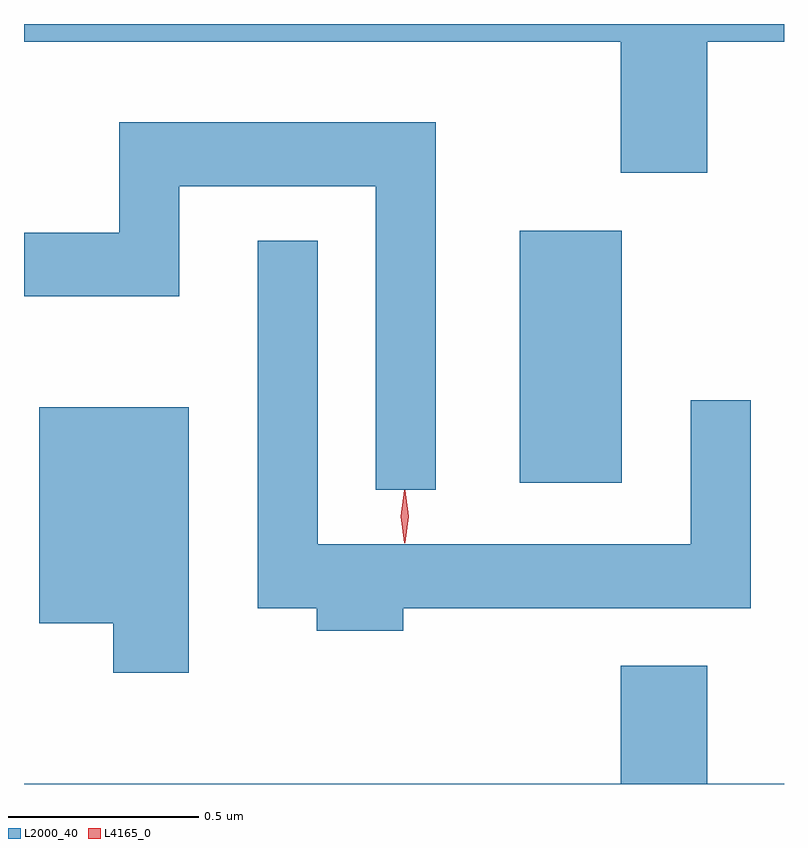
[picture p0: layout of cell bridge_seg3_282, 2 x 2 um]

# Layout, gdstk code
import gdstk
lib = gdstk.Library(unit=1e-6, precision=1e-09)
def R(c, l, rs):  # rectangles x0, y0, x1, y1
    for r in rs: c.add(gdstk.rectangle(r[:2], r[2:], *l))
def P(c, l, *ps):  # polygons
    for p in ps: c.add(gdstk.Polygon(p, *l))
L2000_40 = (2000, 40)
L4165_0 = (4165, 0)

bridge_seg3_282 = lib.new_cell('bridge_seg3_282')
R(bridge_seg3_282, L2000_40, [(1077.726,1149.276,1077.994,1149.939)])
P(bridge_seg3_282, L2000_40, [(1078.219,1150.436),(1078.421,1150.436),(1078.421,1150.483),(1076.421,1150.483),(1076.421,1150.436),(1077.991,1150.436),(1077.991,1150.091),(1078.219,1150.091)],
  [(1077.504,1150.224),(1076.671,1150.224),(1076.671,1149.934),(1076.421,1149.934),(1076.421,1149.766),(1076.829,1149.766),(1076.829,1150.056),(1077.346,1150.056),(1077.346,1149.258),(1077.504,1149.258)],
  [(1077.419,1148.946),(1078.334,1148.946),(1078.334,1149.493),(1078.176,1149.493),(1078.176,1149.114),(1077.194,1149.114),(1077.194,1149.913),(1077.036,1149.913),(1077.036,1148.946),(1077.191,1148.946),(1077.191,1148.886),(1077.419,1148.886)],
  [(1076.854,1149.474),(1076.461,1149.474),(1076.461,1148.906),(1076.656,1148.906),(1076.656,1148.776),(1076.854,1148.776)],
  [(1078.421,1148.484),(1078.219,1148.484),(1078.219,1148.794),(1077.991,1148.794),(1077.991,1148.484),(1076.421,1148.484),(1076.421,1148.483),(1078.421,1148.483)])
P(bridge_seg3_282, L4165_0, [(1077.423,1149.117),(1077.422,1149.118),(1077.413,1149.187),(1077.422,1149.256),(1077.423,1149.256),(1077.424,1149.256),(1077.433,1149.187),(1077.424,1149.118)],
  [(1077.422,1149.12),(1077.413,1149.186),(1077.422,1149.253),(1077.423,1149.253),(1077.424,1149.253),(1077.433,1149.186),(1077.424,1149.12),(1077.423,1149.12)])

lib.write_gds('bridge_seg3_282.gds')
